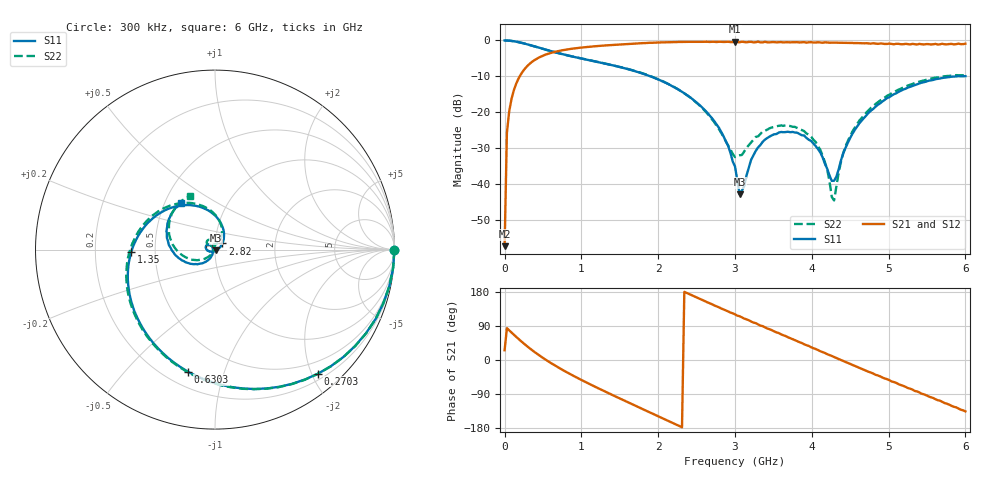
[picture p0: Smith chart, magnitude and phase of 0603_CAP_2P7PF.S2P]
!Agilent Technologies,E5071C,MY46106283,A.09.10
!Date: Tue Jan 23 23:46:04 2001
!Data & Calibration Information:
!Freq	S11:SOLT2(ON)	S41:SOLT2(ON)	S14:SOLT2(ON)	S44:SOLT2(ON)
# Hz S dB R 50
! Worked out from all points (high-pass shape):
!   201 points, 300 kHz to 6 GHz, reference 50 ohm
!   highest |S21| = -0.34 dB at 3 GHz (marker M1); lowest = -57.1 dB at 300 kHz (marker M2)
!   |S21| within 3 dB of the highest: 623.9 MHz to end of sweep
!   lowest |S11| = -42.7 dB at 3.06 GHz (marker M3), VSWR 1.01, Z = 50.5 - j0.497 ohm
!   |S11| at or under -10 dB: 1.903 GHz to 5.874 GHz (3.971 GHz wide, 102 % of centre)
!   |S22| runs from -44.4 to 0.0 dB; largest |S21 - S12| = 0.0086
!   S11 on the Smith chart (normalised r, x): 300 kHz: open; 270.3 MHz: 0.29, -2.10; 630.3 MHz: 0.29, -0.76; 1.35 GHz: 0.36, -0.01; 2.82 GHz: 1.08, +0.07; 6 GHz: 0.61, +0.35
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300000  -0.00 -0.1  -57.13 25.7  -56.12 59.9  -0.01 -0.1
3.02985e7  -0.02 -6.0  -25.59 84.0  -25.58 84.0  -0.02 -6.0
6.0297e7  -0.07 -11.8  -19.66 78.2  -19.66 78.3  -0.07 -11.9
2.702865e8  -0.93 -50.3  -7.69 40.0  -7.69 40.1  -0.94 -50.6
6.302685e8  -3.13 -102.4  -3.30 -11.3  -3.29 -11.4  -3.13 -103.2
1.020249e9  -5.11 -146.0  -1.93 -54.7  -1.94 -54.8  -5.10 -148.1
1.350232e9  -6.63 -178.6  -1.33 -87.2  -1.34 -87.3  -6.59 178.3
2.0102e9  -10.92 119.4  -0.56 -149.5  -0.57 -149.5  -10.85 115.6
2.40018e9  -15.57 82.7  -0.39 174.3  -0.39 174.3  -15.57 82.2
2.820159e9  -25.41 39.7  -0.38 136.1  -0.35 136.0  -25.67 63.7
3.00015e9  -34.99 4.9  -0.34 120.4  -0.33 120.6  -32.39 94.3
3.060147e9  -42.68 -42.0  -0.50 115.5  -0.49 115.3  -31.90 121.0
3.39013e9  -27.53 -171.1  -0.38 86.2  -0.39 86.2  -25.08 143.8
3.750112e9  -25.41 153.7  -0.50 55.0  -0.51 55.1  -23.96 120.5
4.020099e9  -28.60 135.9  -0.59 31.1  -0.56 31.1  -27.55 102.8
4.170092e9  -34.18 139.4  -0.54 18.6  -0.57 18.6  -33.78 96.9
4.290086e9  -38.96 -165.3  -0.59 7.8  -0.61 7.8  -44.44 179.1
4.41008e9  -31.32 -119.6  -0.65 -2.6  -0.66 -2.6  -31.23 -129.0
4.530074e9  -25.87 -118.4  -0.70 -13.0  -0.71 -13.0  -25.24 -132.8
5.01005e9  -15.75 -152.1  -0.87 -53.3  -0.88 -53.2  -15.06 -167.7
5.520024e9  -11.20 166.4  -1.02 -96.0  -1.00 -96.0  -10.75 152.3
6e9  -9.92 126.4  -0.90 -135.7  -0.92 -136.0  -9.68 115.0
